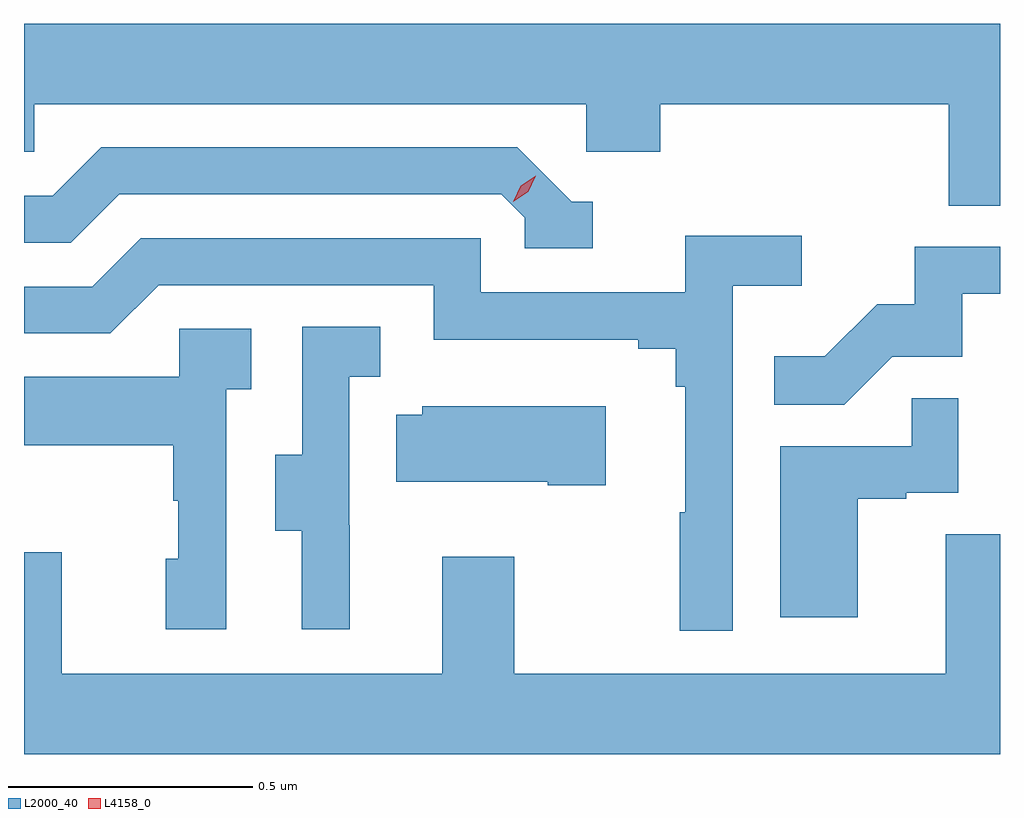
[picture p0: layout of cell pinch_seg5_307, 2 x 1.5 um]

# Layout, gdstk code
import gdstk
lib = gdstk.Library(unit=1e-6, precision=1e-09)
def P(c, l, *ps):  # polygons
    for p in ps: c.add(gdstk.Polygon(p, *l))
L2000_40 = (2000, 40)
L4158_0 = (4158, 0)

pinch_seg5_307 = lib.new_cell('pinch_seg5_307')
P(pinch_seg5_307, L2000_40, [(911.492,890.224),(909.492,890.224),(909.492,889.962),(909.513,889.962),(909.513,890.06),(910.644,890.06),(910.644,889.962),(910.796,889.962),(910.796,890.06),(911.387,890.06),(911.387,889.852),(911.492,889.852)],
  [(910.657,889.86),(910.614,889.86),(910.503,889.971),(909.65,889.971),(909.551,889.872),(909.492,889.872),(909.492,889.776),(909.588,889.776),(909.687,889.875),(910.47,889.875),(910.518,889.827),(910.518,889.764),(910.657,889.764)],
  [(910.944,889.688),(911.086,889.688),(911.086,889.79),(910.847,889.79),(910.847,889.674),(910.428,889.674),(910.428,889.785),(909.731,889.785),(909.632,889.686),(909.492,889.686),(909.492,889.59),(909.669,889.59),(909.768,889.689),(910.332,889.689),(910.332,889.577),(910.751,889.577),(910.751,889.558),(910.828,889.558),(910.828,889.481),(910.847,889.481),(910.847,889.223),(910.836,889.223),(910.836,888.981),(910.944,888.981)],
  [(911.271,889.542),(911.415,889.542),(911.415,889.671),(911.492,889.671),(911.492,889.767),(911.317,889.767),(911.317,889.65),(911.24,889.65),(911.133,889.543),(911.029,889.543),(911.029,889.444),(911.173,889.444)],
  [(910.16,889.197),(910.158,889.197),(910.158,889.501),(910.222,889.501),(910.222,889.604),(910.062,889.604),(910.062,889.341),(910.007,889.341),(910.007,889.186),(910.061,889.186),(910.061,888.984),(910.16,888.984)],
  [(909.906,889.475),(909.958,889.475),(909.958,889.599),(909.81,889.599),(909.81,889.501),(909.492,889.501),(909.492,889.361),(909.798,889.361),(909.798,889.247),(909.808,889.247),(909.808,889.128),(909.782,889.128),(909.782,888.984),(909.906,888.984)],
  [(911.2,889.251),(911.3,889.251),(911.3,889.263),(911.406,889.263),(911.406,889.457),(911.311,889.457),(911.311,889.359),(911.042,889.359),(911.042,889.008),(911.2,889.008)],
  [(910.684,889.441),(910.308,889.441),(910.308,889.423),(910.255,889.423),(910.255,889.286),(910.565,889.286),(910.565,889.279),(910.684,889.279)],
  [(911.492,889.178),(911.381,889.178),(911.381,888.892),(910.497,888.892),(910.497,889.132),(910.349,889.132),(910.349,888.892),(909.569,888.892),(909.569,889.141),(909.492,889.141),(909.492,888.728),(911.492,888.728)])
P(pinch_seg5_307, L4158_0, [(910.495,889.86),(910.495,889.86),(910.51,889.893),(910.541,889.913),(910.541,889.913),(910.541,889.913),(910.525,889.88),(910.495,889.86)])

lib.write_gds('pinch_seg5_307.gds')
